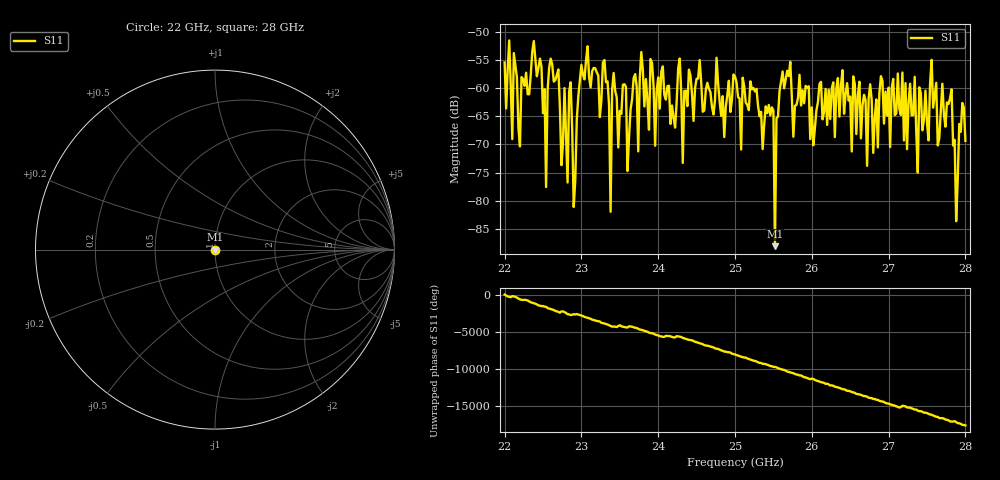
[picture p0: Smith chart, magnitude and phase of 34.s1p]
#  HZ  S  RI  R  50.00
! Rohde & Schwarz ZVA40 4Ports - Version 3.90 - 1145.1110k42 SN: 100403
! Date: 2023-10-04 06:53:47
! Measurement: S12
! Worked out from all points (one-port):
!   301 points, 22 GHz to 28 GHz, reference 50 ohm
!   lowest |S11| = -88.1 dB at 25.52 GHz (marker M1), VSWR 1.00, Z = 50 + j0.00203 ohm
!   |S11| at or under -10 dB: start of sweep to end of sweep
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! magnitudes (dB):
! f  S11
! 22 GHz  -55.5
! 22.54 GHz  -77.6
! 22.6 GHz  -54.8
! 22.76 GHz  -69.8
! 22.78 GHz  -60.0
! 22.82 GHz  -76.8
! 22.86 GHz  -59.0
! 22.9 GHz  -81.1
! 23 GHz  -55.9
! 23.3 GHz  -55.0
! 23.38 GHz  -82.0
! 23.42 GHz  -57.3
! 23.5 GHz  -64.1
! 24.26 GHz  -56.6
! 24.32 GHz  -73.3
! 24.4 GHz  -56.8
! 25 GHz  -58.0
! 25.08 GHz  -70.9
! 25.1 GHz  -58.2
! 25.5 GHz  -64.0
! 25.52 GHz  -88.1
! 25.62 GHz  -57.1
! 25.76 GHz  -68.7
! 26.5 GHz  -61.5
! 26.72 GHz  -73.8
! 26.76 GHz  -59.3
! 27.26 GHz  -62.5
! 28 GHz  -69.4
